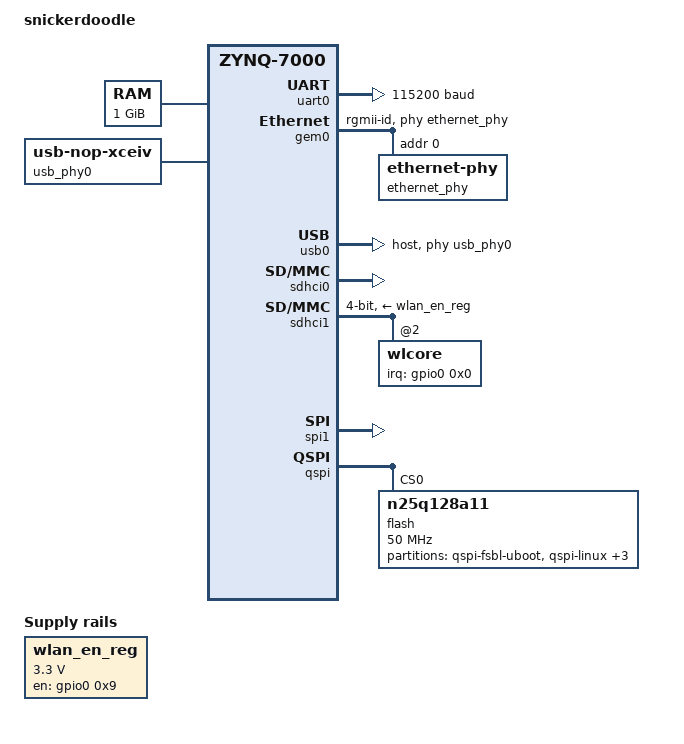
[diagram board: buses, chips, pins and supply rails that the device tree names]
/*
 * snickerdoodle board DTS
 *
 * Copyright (c) 2016 krtkl inc.
 *
 * SPDX-License-Identifier:     GPL-2.0+
 */


/dts-v1/;
/include/ "zynq-7000.dtsi"
/ {
        model = "snickerdoodle";
        compatible = "xlnx,zynq-snickerdoodle", "xlnx,zynq-7000";

	cpus {
		cpu@0 {
			operating-points = <
				/* kHz	uV */
				666667	1000000
				333334	1000000
			>;
		};
	};

	chosen {
                bootargs = "console=ttyPS0,115200n8 earlyprintk ramdisk_size=0x8F0000";
                linux,stdout-path = &uart0;
                stdout-path = &uart0;
        };

	aliases {
		ethernet0 = &gem0;
		serial0 = &uart0;
		spi0 = &qspi;
		spi1 = &spi1;
		mmc0 = &sdhci0;
		mmc1 = &sdhci1;
	};

	memory {
		device_type = "memory";
		reg = <0x0 0x40000000>;
	};

	wlan_en_reg: fixedregulator@1 {
                compatible = "regulator-fixed";
                regulator-name = "wlan-en-regulator";
                regulator-min-microvolt = <0x325aa0>;		/* Specified as 3.3V for driver, actually 1.8V */
                regulator-max-microvolt = <0x325aa0>;
                gpio = <&gpio0 0x9 0x4>;			/* WLAN_EN GPIO 9 on B5 */
                startup-delay-us = <0x11170>;
                enable-active-high;
                linux,phandle = <0x6>;
                phandle = <0x6>;
        };

	usb_phy0: phy0 {
		compatible = "usb-nop-xceiv";
		#phy-cells = <0>;
	};
};

&intc {
	num_cpus = <2>;
	num_interrupts = <96>;
};

&clkc {
	fclk-enable = <0x1>;
	ps-clk-frequency = <33333333>;
};

&gpio0 {
        interrupt-controller;
        #interrupt-cells = <0x2>;
        emio-gpio-width = <0x40>;
        gpio-mask-high = <0x0>;
        gpio-mask-low = <0x5600>;
        xlnx,emio-gpio-width = <0x40>;
        xlnx,mio-gpio-mask = <0x5600>;
        linux,phandle = <0x4>;
        phandle = <0x4>;
};

&uart0 {
	u-boot,dm-pre-reloc;
	status = "okay";
	interrupt-parent = <&intc>;
	xlnx,has-modem = <0x0>;
	current-speed = <0x1c200>;				/* 115200 */
	device_type = "serial";
	port-number = <0x0>;
};

&gem0 {
        status = "okay";
        phy-mode = "rgmii-id";
        phy-handle = <&ethernet_phy>;

        ethernet_phy: ethernet-phy@0 {
                reg = <0>;
        };
};

&usb0 {
        status = "okay";
        dr_mode = "host";
        usb-phy = <&usb_phy0>;
};

&sdhci0 {
	u-boot,dm-pre-reloc;
        status = "okay";
};

&sdhci1 {
	u-boot,dm-pre-reloc;
        status = "okay";
        vmmc-supply = <&wlan_en_reg>;
	bus-width = <0x4>;
        cap-power-off-card;
	keep-power-in-suspend;

	#address-cells = <0x1>;
	#size-cells = <0x0>;
        wlcore: wlcore@0 {
                compatible = "wlcore", "ti,wl1831", "ti,wl1837";
		reg = <2>;
                interrupt-parent = <&gpio0>;
		interrupts = <0x0 0x4>;
        };
};

&spi1 {
        u-boot,dm-pre-reloc;
        status = "okay";
};

&qspi {
        u-boot,dm-pre-reloc;
        status = "okay";
        is-dual = <0x0>;
        num-cs = <0x1>;
        xlnx,qspi-mode = <0x1>;

        flash@0 {
                compatible = "n25q128a11";
                reg = <0x0>;
                spi-tx-bus-width = <0x1>;
                spi-rx-bus-width = <0x4>;
                spi-max-frequency = <50000000>;
                #address-cells = <0x1>;
                #size-cells = <0x1>;
                partition@qspi-fsbl-uboot {
                        label = "qspi-fsbl-uboot";
                        reg = <0x0 0x80000>;
                };
                partition@qspi-linux {
                        label = "qspi-linux";
                        reg = <0x80000 0x400000>;
                };
                partition@qspi-device-tree {
                        label = "qspi-device-tree";
                        reg = <0x480000 0x10000>;
                };
                partition@qspi-rootfs {
                        label = "qspi-rootfs";
                        reg = <0x490000 0x8f0000>;
                };
                partition@qspi-bitstream {
                        label = "qspi-bitstream";
                        reg = <0xd80000 0x280000>;
                };
        };
};

